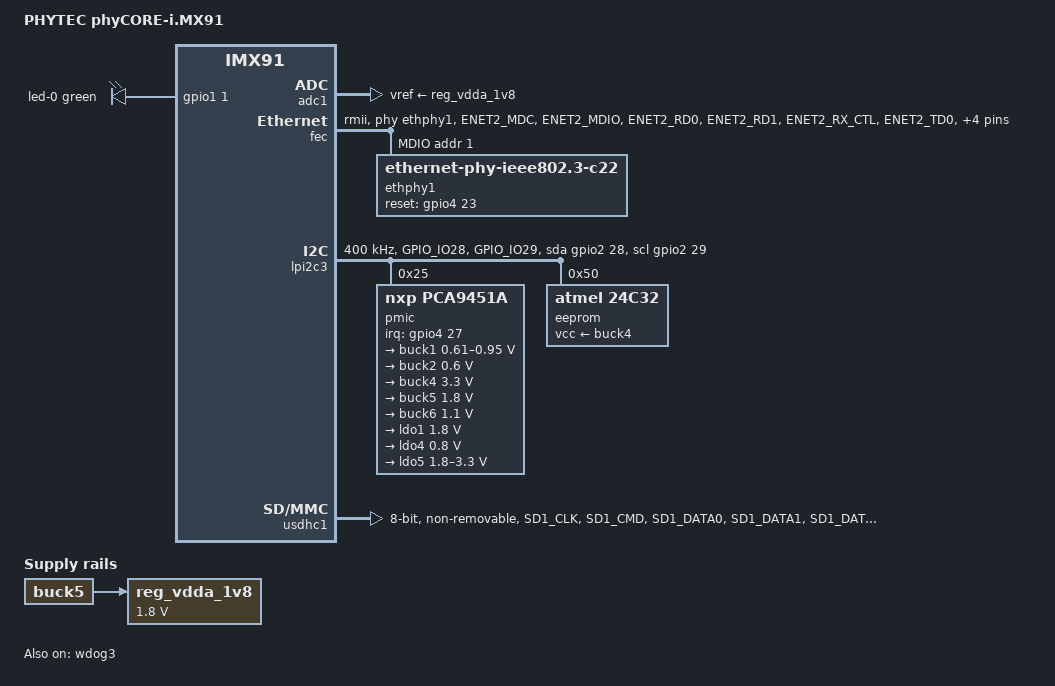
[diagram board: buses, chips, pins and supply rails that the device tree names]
// SPDX-License-Identifier: (GPL-2.0+ OR MIT)
/*
 * Copyright (C) 2025 PHYTEC Messtechnik GmbH
 * Author: Christoph Stoidner <c.stoidner@phytec.de>
 *
 * Product homepage:
 * https://www.phytec.eu/en/produkte/system-on-modules/phycore-imx-91-93/
 */

#include <dt-bindings/leds/common.h>

#include "imx91.dtsi"

/ {
	model = "PHYTEC phyCORE-i.MX91";
	compatible = "phytec,imx91-phycore-som", "fsl,imx91";

	aliases {
		ethernet0 = &fec;
	};

	reserved-memory {
		ranges;
		#address-cells = <2>;
		#size-cells = <2>;

		linux,cma {
			compatible = "shared-dma-pool";
			reusable;
			alloc-ranges = <0 0x80000000 0 0x40000000>;
			size = <0 0x10000000>;
			linux,cma-default;
		};
	};

	leds {
		compatible = "gpio-leds";
		pinctrl-names = "default";
		pinctrl-0 = <&pinctrl_leds>;

		led-0 {
			color = <LED_COLOR_ID_GREEN>;
			function = LED_FUNCTION_HEARTBEAT;
			gpios = <&gpio1 1 GPIO_ACTIVE_HIGH>;
			linux,default-trigger = "heartbeat";
		};
	};

	reg_vdda_1v8: regulator-vdda-1v8 {
		compatible = "regulator-fixed";
		regulator-name = "VDDA_1V8";
		regulator-max-microvolt = <1800000>;
		regulator-min-microvolt = <1800000>;
		vin-supply = <&buck5>;
	};
};

/* ADC */
&adc1 {
	vref-supply = <&reg_vdda_1v8>;
};

/* Ethernet */
&fec {
	pinctrl-names = "default";
	pinctrl-0 = <&pinctrl_fec>;
	phy-mode = "rmii";
	phy-handle = <&ethphy1>;

	assigned-clocks = <&clk IMX91_CLK_ENET_TIMER>,
			  <&clk IMX91_CLK_ENET2_REGULAR>;
	assigned-clock-parents = <&clk IMX93_CLK_SYS_PLL_PFD1_DIV2>,
				 <&clk IMX93_CLK_SYS_PLL_PFD1_DIV2>;
	assigned-clock-rates = <100000000>, <50000000>;
	status = "okay";

	mdio: mdio {
		clock-frequency = <5000000>;
		#address-cells = <1>;
		#size-cells = <0>;

		ethphy1: ethernet-phy@1 {
			compatible = "ethernet-phy-ieee802.3-c22";
			reg = <1>;
			reset-gpios = <&gpio4 23 GPIO_ACTIVE_HIGH>;
			reset-assert-us = <30>;
		};
	};
};

/* I2C3 */
&lpi2c3 {
	clock-frequency = <400000>;
	pinctrl-names = "default", "gpio";
	pinctrl-0 = <&pinctrl_lpi2c3>;
	pinctrl-1 = <&pinctrl_lpi2c3_gpio>;
	scl-gpios = <&gpio2 29 (GPIO_ACTIVE_HIGH | GPIO_OPEN_DRAIN)>;
	sda-gpios = <&gpio2 28 (GPIO_ACTIVE_HIGH | GPIO_OPEN_DRAIN)>;
	status = "okay";

	pmic@25 {
		compatible = "nxp,pca9451a";
		reg = <0x25>;
		pinctrl-names = "default";
		pinctrl-0 = <&pinctrl_pmic>;
		interrupt-parent = <&gpio4>;
		interrupts = <27 IRQ_TYPE_LEVEL_LOW>;

		regulators {
			buck1: BUCK1 {
				regulator-name = "VDD_SOC";
				regulator-max-microvolt = <950000>;
				regulator-min-microvolt = <610000>;
				regulator-boot-on;
				regulator-always-on;
				regulator-ramp-delay = <3125>;
			};

			buck2: BUCK2 {
				regulator-name = "VDDQ_0V6";
				regulator-max-microvolt = <600000>;
				regulator-min-microvolt = <600000>;
				regulator-boot-on;
				regulator-always-on;
			};

			buck4: BUCK4 {
				regulator-name = "VDD_3V3_BUCK";
				regulator-max-microvolt = <3300000>;
				regulator-min-microvolt = <3300000>;
				regulator-boot-on;
				regulator-always-on;
			};

			buck5: BUCK5 {
				regulator-name = "VDD_1V8";
				regulator-max-microvolt = <1800000>;
				regulator-min-microvolt = <1800000>;
				regulator-boot-on;
				regulator-always-on;
			};

			buck6: BUCK6 {
				regulator-name = "VDD_1V1";
				regulator-max-microvolt = <1100000>;
				regulator-min-microvolt = <1100000>;
				regulator-boot-on;
				regulator-always-on;
			};

			ldo1: LDO1 {
				regulator-name = "PMIC_SNVS_1V8";
				regulator-max-microvolt = <1800000>;
				regulator-min-microvolt = <1800000>;
				regulator-boot-on;
				regulator-always-on;
			};

			ldo4: LDO4 {
				regulator-name = "VDD_0V8";
				regulator-max-microvolt = <800000>;
				regulator-min-microvolt = <800000>;
				regulator-boot-on;
				regulator-always-on;
			};

			ldo5: LDO5 {
				regulator-name = "NVCC_SD2";
				regulator-max-microvolt = <3300000>;
				regulator-min-microvolt = <1800000>;
				regulator-boot-on;
				regulator-always-on;
			};
		};
	};

	/* EEPROM */
	eeprom@50 {
		compatible = "atmel,24c32";
		reg = <0x50>;
		pagesize = <32>;
		vcc-supply = <&buck4>;
	};
};

/* eMMC */
&usdhc1 {
	pinctrl-names = "default", "state_100mhz", "state_200mhz";
	pinctrl-0 = <&pinctrl_usdhc1>;
	pinctrl-1 = <&pinctrl_usdhc1_100mhz>;
	pinctrl-2 = <&pinctrl_usdhc1_200mhz>;
	bus-width = <8>;
	non-removable;
	no-1-8-v;
	status = "okay";
};

/* Watchdog */
&wdog3 {
	pinctrl-names = "default";
	pinctrl-0 = <&pinctrl_wdog>;
	fsl,ext-reset-output;
	status = "okay";
};

&iomuxc {
	pinctrl_fec: fecgrp {
		fsl,pins = <
			MX91_PAD_ENET2_MDC__ENET2_MDC			0x50e
			MX91_PAD_ENET2_MDIO__ENET2_MDIO			0x502
			/* the three pins below are connected to PHYs straps,
			 * that is what the pull-up/down setting is for.
			 */
			MX91_PAD_ENET2_RD0__ENET2_RGMII_RD0		0x37e
			MX91_PAD_ENET2_RD1__ENET2_RGMII_RD1		0x37e
			MX91_PAD_ENET2_RX_CTL__ENET2_RGMII_RX_CTL	0x57e
			MX91_PAD_ENET2_TD0__ENET2_RGMII_TD0		0x50e
			MX91_PAD_ENET2_TD1__ENET2_RGMII_TD1		0x50e
			MX91_PAD_ENET2_TX_CTL__ENET2_RGMII_TX_CTL	0x50e
			MX91_PAD_ENET2_TD2__ENET2_TX_CLK2		0x4000050e
			MX91_PAD_ENET2_RXC__GPIO4_IO23			0x51e
		>;
	};

	pinctrl_leds: ledsgrp {
		fsl,pins = <
			MX91_PAD_I2C1_SDA__GPIO1_IO1		0x11e
		>;
	};

	pinctrl_lpi2c3: lpi2c3grp {
		fsl,pins = <
			MX91_PAD_GPIO_IO28__LPI2C3_SDA		0x40000b9e
			MX91_PAD_GPIO_IO29__LPI2C3_SCL		0x40000b9e
		>;
	};

	pinctrl_lpi2c3_gpio: lpi2c3gpiogrp {
		fsl,pins = <
			MX91_PAD_GPIO_IO28__GPIO2_IO28		0x31e
			MX91_PAD_GPIO_IO29__GPIO2_IO29		0x31e
		>;
	};

	pinctrl_pmic: pmicgrp {
		fsl,pins = <
			MX91_PAD_ENET2_RD3__GPIO4_IO27		0x31e
		>;
	};

	pinctrl_usdhc1: usdhc1grp {
		fsl,pins = <
			MX91_PAD_SD1_CLK__USDHC1_CLK		0x179e
			MX91_PAD_SD1_CMD__USDHC1_CMD		0x1386
			MX91_PAD_SD1_DATA0__USDHC1_DATA0	0x138e
			MX91_PAD_SD1_DATA1__USDHC1_DATA1	0x1386
			MX91_PAD_SD1_DATA2__USDHC1_DATA2	0x138e
			MX91_PAD_SD1_DATA3__USDHC1_DATA3	0x1386
			MX91_PAD_SD1_DATA4__USDHC1_DATA4	0x1386
			MX91_PAD_SD1_DATA5__USDHC1_DATA5	0x1386
			MX91_PAD_SD1_DATA6__USDHC1_DATA6	0x1386
			MX91_PAD_SD1_DATA7__USDHC1_DATA7	0x1386
			MX91_PAD_SD1_STROBE__USDHC1_STROBE	0x179e
		>;
	};

	pinctrl_usdhc1_100mhz: usdhc1-100mhzgrp {
		fsl,pins = <
			MX91_PAD_SD1_CLK__USDHC1_CLK		0x17be
			MX91_PAD_SD1_CMD__USDHC1_CMD		0x139e
			MX91_PAD_SD1_DATA0__USDHC1_DATA0	0x138e
			MX91_PAD_SD1_DATA1__USDHC1_DATA1	0x139e
			MX91_PAD_SD1_DATA2__USDHC1_DATA2	0x13be
			MX91_PAD_SD1_DATA3__USDHC1_DATA3	0x139e
			MX91_PAD_SD1_DATA4__USDHC1_DATA4	0x139e
			MX91_PAD_SD1_DATA5__USDHC1_DATA5	0x139e
			MX91_PAD_SD1_DATA6__USDHC1_DATA6	0x139e
			MX91_PAD_SD1_DATA7__USDHC1_DATA7	0x139e
			MX91_PAD_SD1_STROBE__USDHC1_STROBE	0x179e
		>;
	};

	pinctrl_usdhc1_200mhz: usdhc1-200mhzgrp {
		fsl,pins = <
			MX91_PAD_SD1_CLK__USDHC1_CLK		0x17be
			MX91_PAD_SD1_CMD__USDHC1_CMD		0x139e
			MX91_PAD_SD1_DATA0__USDHC1_DATA0	0x139e
			MX91_PAD_SD1_DATA1__USDHC1_DATA1	0x13be
			MX91_PAD_SD1_DATA2__USDHC1_DATA2	0x13be
			MX91_PAD_SD1_DATA3__USDHC1_DATA3	0x13be
			MX91_PAD_SD1_DATA4__USDHC1_DATA4	0x13be
			MX91_PAD_SD1_DATA5__USDHC1_DATA5	0x13be
			MX91_PAD_SD1_DATA6__USDHC1_DATA6	0x13be
			MX91_PAD_SD1_DATA7__USDHC1_DATA7	0x13be
			MX91_PAD_SD1_STROBE__USDHC1_STROBE	0x179e
		>;
	};

	pinctrl_wdog: wdoggrp {
		fsl,pins = <
			MX91_PAD_WDOG_ANY__WDOG1_WDOG_ANY	0x31e
		>;
	};
};
